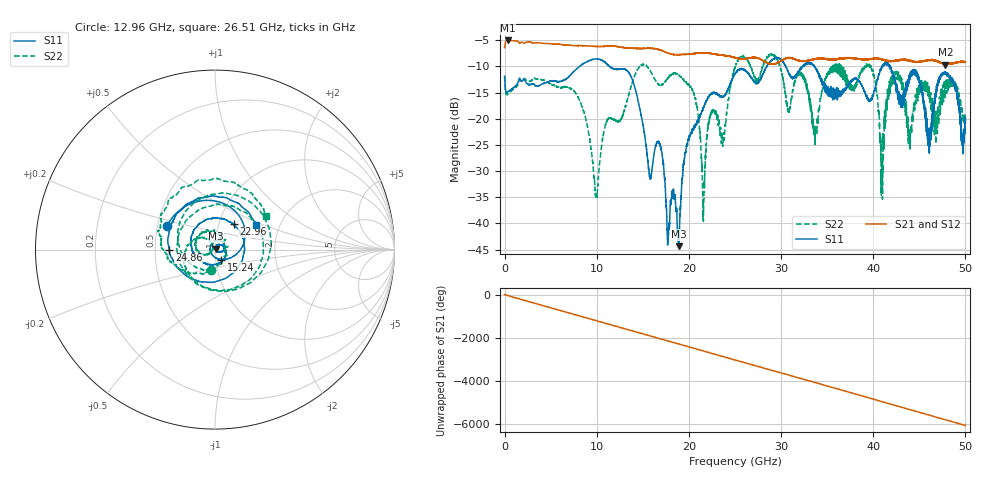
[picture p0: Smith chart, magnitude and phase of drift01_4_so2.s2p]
!Created with skrf (http://scikit-rf.org).
# Hz S RI R 50.0
!freq ReS11 ImS11 ReS21 ImS21 ReS12 ImS12 ReS22 ImS22
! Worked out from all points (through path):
!   10001 points, 300 kHz to 50 GHz, reference 50 ohm
!   highest |S21| = -5.05 dB at 325.3 MHz (marker M1); lowest = -9.7 dB at 47.84 GHz (marker M2)
!   group delay of S21, straight-line fit = 336 ps
!   lowest |S11| = -44.4 dB at 18.92 GHz (marker M3), VSWR 1.01, Z = 50.4 + j0.496 ohm
!   |S11| at or under -10 dB: start of sweep to 8.14 GHz; 11.39 GHz to 28.45 GHz (17.07 GHz wide, 85.7 % of centre); 41.8 GHz to end of sweep (the widest 3 of 15)
!   |S22| runs from -39.6 to -7.6 dB; largest |S21 - S12| = 0.014
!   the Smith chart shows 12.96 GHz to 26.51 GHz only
!   S11 on the Smith chart (normalised r, x): 12.96 GHz: 0.56, +0.16; 15.24 GHz: 1.07, -0.12; 22.96 GHz: 1.18, +0.34; 24.86 GHz: 0.59, -0.00; 26.51 GHz: 1.52, +0.45
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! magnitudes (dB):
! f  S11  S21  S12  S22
! 300 kHz  -11.9  -6.5  -6.5  -11.9
! 325.3 MHz  -15.0  -5.1  -5.1  -15.4
! 8.335 GHz  -9.7  -6.0  -6.0  -17.4
! 9.935 GHz  -8.6  -6.2  -6.2  -34.6
! 12.96 GHz  -10.5  -6.4  -6.4  -18.6
! 15.24 GHz  -23.5  -6.6  -6.6  -9.7
! 16.67 GHz  -24.3  -6.8  -6.8  -13.4
! 17.71 GHz  -43.5  -7.4  -7.5  -12.3
! 18.92 GHz  -44.4  -7.8  -7.7  -11.7
! 20.7 GHz  -21.2  -7.5  -7.5  -16.2
! 21.56 GHz  -17.8  -7.4  -7.4  -38.0
! 22.96 GHz  -15.2  -7.7  -7.7  -18.9
! 24.86 GHz  -11.9  -8.3  -8.3  -11.0
! 25 GHz  -11.4  -8.3  -8.4  -10.2
! 26.51 GHz  -11.4  -8.4  -8.4  -9.4
! 33.34 GHz  -9.6  -8.7  -8.7  -19.4
! 39.49 GHz  -16.7  -8.7  -8.6  -9.9
! 40.94 GHz  -10.0  -8.6  -8.6  -28.2
! 41.67 GHz  -9.9  -8.9  -9.0  -14.8
! 46.08 GHz  -25.2  -8.8  -8.8  -14.9
! 47.84 GHz  -11.4  -9.7  -9.7  -14.3
! 50 GHz  -20.9  -9.2  -9.2  -19.7
